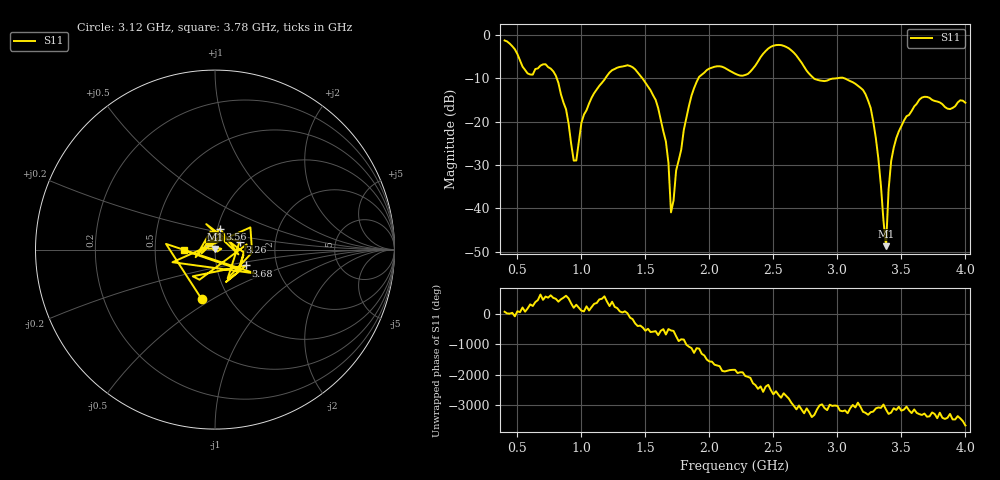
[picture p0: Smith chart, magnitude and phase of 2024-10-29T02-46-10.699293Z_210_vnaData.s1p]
!Created with skrf (http://scikit-rf.org).
# Hz S RI R 50.0
!freq ReS11 ImS11
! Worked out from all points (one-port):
!   181 points, 400 MHz to 4 GHz, reference 50 ohm
!   lowest |S11| = -48.8 dB at 3.38 GHz (marker M1), VSWR 1.01, Z = 49.9 + j0.357 ohm
!   |S11| at or under -10 dB: 808 MHz to 1.186 GHz (378.3 MHz wide, 37.9 % of centre); 1.477 GHz to 1.914 GHz (436.2 MHz wide, 25.7 % of centre); 3.058 GHz to end of sweep (the widest 3 of 4)
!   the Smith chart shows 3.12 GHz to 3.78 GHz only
!   S11 on the Smith chart (normalised r, x): 3.12 GHz: 0.75, -0.45; 3.26 GHz: 1.31, +0.12; 3.56 GHz: 1.03, +0.24; 3.68 GHz: 1.39, -0.26; 3.78 GHz: 0.71, -0.01
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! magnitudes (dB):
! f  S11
! 400 MHz  -1.2
! 580 MHz  -8.8
! 780 MHz  -8.3
! 860 MHz  -15.6
! 960 MHz  -29.0
! 1 GHz  -20.3
! 1.08 GHz  -14.4
! 1.3 GHz  -7.3
! 1.58 GHz  -14.9
! 1.66 GHz  -24.6
! 1.7 GHz  -40.9
! 1.76 GHz  -28.9
! 1.92 GHz  -9.6
! 2.2 GHz  -8.9
! 2.5 GHz  -2.4
! 2.66 GHz  -4.0
! 2.82 GHz  -10.1
! 3.1 GHz  -10.6
! 3.12 GHz  -10.9
! 3.26 GHz  -16.8
! 3.32 GHz  -28.5
! 3.38 GHz  -48.8
! 3.4 GHz  -35.6
! 3.42 GHz  -29.1
! 3.56 GHz  -18.4
! 3.68 GHz  -14.2
! 3.78 GHz  -15.3
! 4 GHz  -15.6
